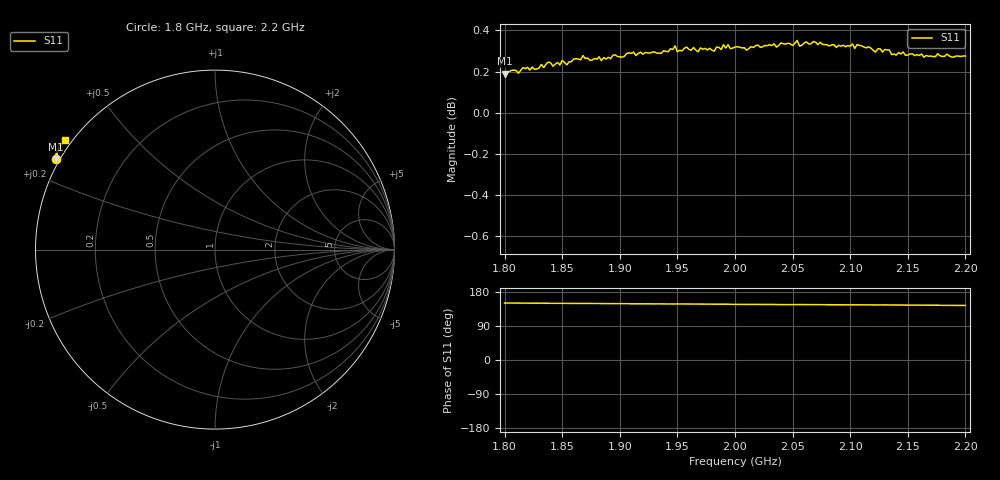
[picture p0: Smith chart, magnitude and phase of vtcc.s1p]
!1-port S-parameter file
# HZ S RI R 50
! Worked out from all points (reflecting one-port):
!   201 points, 1.8 GHz to 2.2 GHz, reference 50 ohm
!   lowest |S11| = 0.2 dB at 1.8 GHz (marker M1)
!   phase of S11 starts at 150 deg and turns -6 deg over the sweep
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1.8e9  -0.8883 0.5055
1.85e9  -0.8879 0.5215
1.86e9  -0.8854 0.5273
1.864e9  -0.8871 0.5245
1.866e9  -0.8836 0.5295
1.872e9  -0.8872 0.5254
1.874e9  -0.8827 0.5304
1.886e9  -0.8845 0.5303
1.888e9  -0.8805 0.5354
1.898e9  -0.8803 0.5385
1.9e9  -0.882 0.5353
1.93e9  -0.8772 0.5487
1.932e9  -0.8788 0.5447
1.946e9  -0.8767 0.5521
1.95e9  -0.8769 0.5493
1.956e9  -0.8752 0.5557
2e9  -0.871 0.5638
2.05e9  -0.8617 0.5793
2.054e9  -0.8668 0.577
2.068e9  -0.8614 0.584
2.076e9  -0.8622 0.5798
2.096e9  -0.8575 0.5843
2.1e9  -0.854 0.5898
2.106e9  -0.8583 0.5854
2.122e9  -0.8495 0.5906
2.13e9  -0.8537 0.587
2.15e9  -0.8453 0.5935
2.2e9  -0.8341 0.6082
